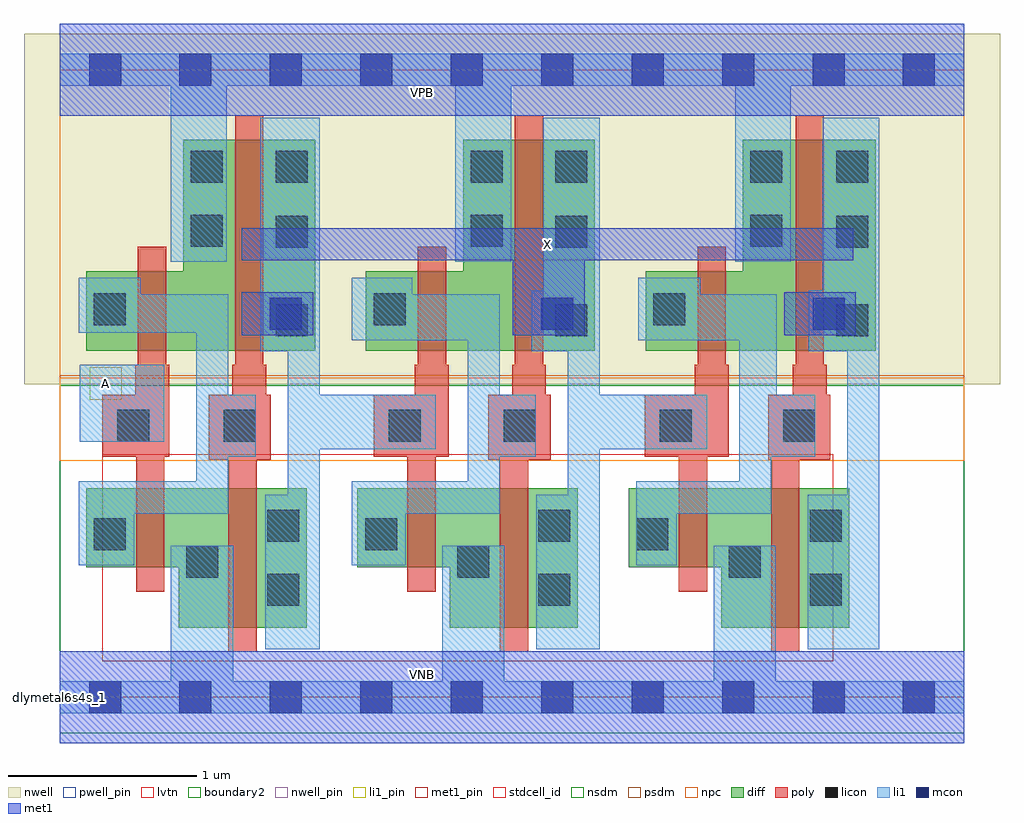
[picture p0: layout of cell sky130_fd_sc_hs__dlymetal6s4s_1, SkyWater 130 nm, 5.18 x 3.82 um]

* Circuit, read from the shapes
.subckt sky130_fd_sc_hs__dlymetal6s4s_1 A VGND VNB VPB VPWR X
XM1 VGND A n1 VNB sky130_fd_pr__nfet_01v8_lvt w=0.42 l=0.15
XM2 n2 n1 VGND VNB sky130_fd_pr__nfet_01v8_lvt w=0.74 l=0.15
XM3 VGND n2 n3 VNB sky130_fd_pr__nfet_01v8_lvt w=0.42 l=0.15
XM4 X n3 VGND VNB sky130_fd_pr__nfet_01v8_lvt w=0.74 l=0.15
XM5 VGND X n4 VNB sky130_fd_pr__nfet_01v8_lvt w=0.42 l=0.15
XM6 n5 n4 VGND VNB sky130_fd_pr__nfet_01v8_lvt w=0.74 l=0.15
XM7 VPWR A n1 VPB sky130_fd_pr__pfet_01v8 w=0.42 l=0.15
XM8 n2 n1 VPWR VPB sky130_fd_pr__pfet_01v8 w=1.12 l=0.15
XM9 VPWR n2 n3 VPB sky130_fd_pr__pfet_01v8 w=0.42 l=0.15
XM10 X n3 VPWR VPB sky130_fd_pr__pfet_01v8 w=1.12 l=0.15
XM11 VPWR X n4 VPB sky130_fd_pr__pfet_01v8 w=0.42 l=0.15
XM12 n5 n4 VPWR VPB sky130_fd_pr__pfet_01v8 w=1.12 l=0.15
.ends

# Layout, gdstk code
import gdstk
lib = gdstk.Library(unit=1e-6, precision=1e-09)
def R(c, l, rs):  # rectangles x0, y0, x1, y1
    for r in rs: c.add(gdstk.rectangle(r[:2], r[2:], *l))
def A(c, l, x, y, w, h, nx, ny, dx, dy):  # array of equal rectangles
    R(c, l, [(x+i*dx, y+j*dy, x+i*dx+w, y+j*dy+h) for i in range(nx) for j in range(ny)])
def P(c, l, *ps):  # polygons
    for p in ps: c.add(gdstk.Polygon(p, *l))
nwell_pin = (64, 16)
nwell = (64, 20)
diff = (65, 20)
poly = (66, 20)
licon = (66, 44)
li1_pin = (67, 16)
li1 = (67, 20)
mcon = (67, 44)
met1_pin = (68, 16)
met1 = (68, 20)
stdcell_id = (81, 4)
nsdm = (93, 44)
psdm = (94, 20)
npc = (95, 20)
pwell_pin = (122, 16)
lvtn = (125, 44)
boundary2 = (236, 0)

sky130_fd_sc_hs__dlymeta = lib.new_cell('sky130_fd_sc_hs__dlymetal6s4s_1')
R(sky130_fd_sc_hs__dlymeta, nwell_pin, [(0,3.085,4.8,3.33)])
R(sky130_fd_sc_hs__dlymeta, nwell, [(-0.19,1.66,4.99,3.52)])
P(sky130_fd_sc_hs__dlymeta, diff, [(4.19,1.11),(3.02,1.11),(3.02,0.69),(3.51,0.69),(3.51,0.37),(4.19,0.37)],
  [(4.33,2.96),(3.625,2.96),(3.625,2.26),(3.11,2.26),(3.11,1.84),(4.33,1.84)],
  [(2.75,1.11),(1.58,1.11),(1.58,0.69),(2.07,0.69),(2.07,0.37),(2.75,0.37)],
  [(2.84,2.96),(2.14,2.96),(2.14,2.26),(1.625,2.26),(1.625,1.84),(2.84,1.84)],
  [(1.31,1.11),(0.14,1.11),(0.14,0.69),(0.63,0.69),(0.63,0.37),(1.31,0.37)],
  [(1.355,2.96),(0.655,2.96),(0.655,2.26),(0.14,2.26),(0.14,1.84),(1.355,1.84)])
P(sky130_fd_sc_hs__dlymeta, poly, [(0.58,1.765),(0.565,1.765),(0.565,2.39),(0.415,2.39),(0.415,1.765),(0.4,1.765),(0.4,1.605),(0.225,1.605),(0.225,1.275),(0.405,1.275),(0.405,0.56),(0.555,0.56),(0.555,1.275),(0.58,1.275)],
  [(1.12,1.605),(1.095,1.605),(1.095,1.765),(1.08,1.765),(1.08,3.09),(0.93,3.09),(0.93,1.765),(0.915,1.765),(0.915,1.605),(0.79,1.605),(0.79,1.26),(0.895,1.26),(0.895,0.24),(1.045,0.24),(1.045,1.26),(1.12,1.26)],
  [(2.065,1.765),(2.05,1.765),(2.05,2.39),(1.9,2.39),(1.9,1.765),(1.885,1.765),(1.885,1.605),(1.665,1.605),(1.665,1.275),(1.845,1.275),(1.845,0.56),(1.995,0.56),(1.995,1.275),(2.065,1.275)],
  [(2.605,1.605),(2.58,1.605),(2.58,1.765),(2.565,1.765),(2.565,3.09),(2.415,3.09),(2.415,1.765),(2.4,1.765),(2.4,1.605),(2.275,1.605),(2.275,1.26),(2.335,1.26),(2.335,0.24),(2.485,0.24),(2.485,1.26),(2.605,1.26)],
  [(3.55,1.765),(3.535,1.765),(3.535,2.39),(3.385,2.39),(3.385,1.765),(3.37,1.765),(3.37,1.605),(3.105,1.605),(3.105,1.275),(3.285,1.275),(3.285,0.56),(3.435,0.56),(3.435,1.275),(3.55,1.275)],
  [(4.09,1.605),(4.07,1.605),(4.07,1.765),(4.055,1.765),(4.055,3.09),(3.905,3.09),(3.905,1.765),(3.89,1.765),(3.89,1.605),(3.76,1.605),(3.76,1.26),(3.775,1.26),(3.775,0.24),(3.925,0.24),(3.925,1.26),(4.09,1.26)])
A(sky130_fd_sc_hs__dlymeta, licon, 1.1, 0.485, 0.17, 0.17, 3, 2, 1.44, 0.34)
A(sky130_fd_sc_hs__dlymeta, licon, 0.67, 0.635, 0.17, 0.17, 3, 1, 1.44, 0)
A(sky130_fd_sc_hs__dlymeta, licon, 0.18, 0.78, 0.17, 0.17, 3, 1, 1.44, 0)
A(sky130_fd_sc_hs__dlymeta, licon, 0.18, 1.975, 0.17, 0.17, 3, 1, 1.485, 0)
A(sky130_fd_sc_hs__dlymeta, licon, 0.695, 2.39, 0.17, 0.17, 3, 1, 1.485, 0)
R(sky130_fd_sc_hs__dlymeta, licon, [(0.305,1.355,0.475,1.525), (0.87,1.355,1.04,1.525), (1.745,1.355,1.915,1.525), (2.355,1.355,2.525,1.525), (3.185,1.355,3.355,1.525), (3.84,1.355,4.01,1.525), (1.145,1.915,1.315,2.085), (2.63,1.915,2.8,2.085), (4.12,1.915,4.29,2.085), (1.145,2.385,1.315,2.555), (2.63,2.385,2.8,2.555), (4.12,2.385,4.29,2.555), (0.695,2.73,0.865,2.9), (1.145,2.73,1.315,2.9), (2.18,2.73,2.35,2.9), (2.63,2.73,2.8,2.9), (3.665,2.73,3.835,2.9), (4.12,2.73,4.29,2.9)])
R(sky130_fd_sc_hs__dlymeta, li1_pin, [(0.16,1.58,0.33,1.75)])
R(sky130_fd_sc_hs__dlymeta, li1, [(0.105,1.355,0.555,1.765)])
P(sky130_fd_sc_hs__dlymeta, li1, [(4.8,0.085),(3.8,0.085),(3.8,0.805),(3.47,0.805),(3.47,0.085),(2.36,0.085),(2.36,0.805),(2.03,0.805),(2.03,0.085),(0.92,0.085),(0.92,0.805),(0.59,0.805),(0.59,0.085),(0,0.085),(0,-0.085),(4.8,-0.085)],
  [(4.8,3.415),(0,3.415),(0,3.245),(0.59,3.245),(0.59,2.31),(0.885,2.31),(0.885,3.245),(2.1,3.245),(2.1,2.31),(2.395,2.31),(2.395,3.245),(3.585,3.245),(3.585,2.31),(3.88,2.31),(3.88,3.245),(4.8,3.245)],
  [(4.35,3.075),(4.05,3.075),(4.05,2.16),(3.975,2.16),(3.975,1.835),(4.18,1.835),(4.18,1.075),(3.97,1.075),(3.97,0.255),(4.35,0.255)],
  [(4.01,1.605),(3.805,1.605),(3.805,2.14),(3.4,2.14),(3.4,2.225),(3.07,2.225),(3.07,1.895),(3.605,1.895),(3.605,1.145),(3.06,1.145),(3.06,0.7),(3.275,0.7),(3.275,0.975),(3.775,0.975),(3.775,1.275),(4.01,1.275)],
  [(3.435,1.605),(2.865,1.605),(2.865,3.075),(2.565,3.075),(2.565,2.16),(2.505,2.16),(2.505,1.835),(2.695,1.835),(2.695,1.075),(2.53,1.075),(2.53,0.255),(2.865,0.255),(2.865,1.315),(3.435,1.315)],
  [(2.525,1.605),(2.335,1.605),(2.335,2.14),(1.87,2.14),(1.87,2.225),(1.55,2.225),(1.55,1.895),(2.165,1.895),(2.165,1.145),(1.55,1.145),(1.55,0.7),(1.835,0.7),(1.835,0.975),(2.335,0.975),(2.335,1.275),(2.525,1.275)],
  [(1.995,1.605),(1.38,1.605),(1.38,3.075),(1.065,3.075),(1.065,1.835),(1.21,1.835),(1.21,1.075),(1.09,1.075),(1.09,0.255),(1.38,0.255),(1.38,1.315),(1.995,1.315)],
  [(1.04,1.605),(0.895,1.605),(0.895,2.14),(0.43,2.14),(0.43,2.225),(0.1,2.225),(0.1,1.935),(0.725,1.935),(0.725,1.145),(0.1,1.145),(0.1,0.7),(0.395,0.7),(0.395,0.975),(0.895,0.975),(0.895,1.275),(1.04,1.275)])
A(sky130_fd_sc_hs__dlymeta, mcon, 0.155, -0.085, 0.17, 0.17, 10, 2, 0.48, 3.33)
A(sky130_fd_sc_hs__dlymeta, mcon, 1.115, 1.95, 0.17, 0.17, 3, 1, 1.44, 0)
R(sky130_fd_sc_hs__dlymeta, met1_pin, [(0,0,4.8,0.245), (0.965,2.32,4.21,2.49), (0,3.085,4.8,3.33)])
R(sky130_fd_sc_hs__dlymeta, met1, [(0,-0.245,4.8,0.245), (0.965,1.92,1.345,2.15), (2.405,1.92,2.785,2.32), (3.845,1.92,4.225,2.15), (0.965,2.32,4.21,2.49), (0,3.085,4.8,3.575)])
R(sky130_fd_sc_hs__dlymeta, stdcell_id, [(0,0,4.8,3.33)])
R(sky130_fd_sc_hs__dlymeta, nsdm, [(0,-0.19,4.8,1.655)])
R(sky130_fd_sc_hs__dlymeta, psdm, [(0,1.705,4.8,3.52)])
R(sky130_fd_sc_hs__dlymeta, npc, [(0,1.255,4.8,1.695)])
R(sky130_fd_sc_hs__dlymeta, pwell_pin, [(0,0,4.8,0.245)])
R(sky130_fd_sc_hs__dlymeta, lvtn, [(0.225,0.19,4.105,1.29)])
R(sky130_fd_sc_hs__dlymeta, boundary2, [(0,0,4.8,3.33)])
sky130_fd_sc_hs__dlymeta.add(gdstk.Label('dlymetal6s4s_1', (0,0), layer=83, texttype=44))
sky130_fd_sc_hs__dlymeta.add(gdstk.Label('VNB', (1.925,0.123), layer=64, texttype=59))
sky130_fd_sc_hs__dlymeta.add(gdstk.Label('VPB', (1.925,3.208), layer=64, texttype=5))
sky130_fd_sc_hs__dlymeta.add(gdstk.Label('X', (2.59,2.405), layer=68, texttype=5))
sky130_fd_sc_hs__dlymeta.add(gdstk.Label('VGND', (1.925,0.123), layer=68, texttype=5))
sky130_fd_sc_hs__dlymeta.add(gdstk.Label('VPWR', (1.925,3.208), layer=68, texttype=5))
sky130_fd_sc_hs__dlymeta.add(gdstk.Label('A', (0.245,1.665), layer=67, texttype=5))

lib.write_gds('sky130_fd_sc_hs__dlymetal6s4s_1.gds')
